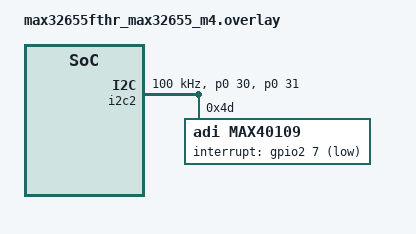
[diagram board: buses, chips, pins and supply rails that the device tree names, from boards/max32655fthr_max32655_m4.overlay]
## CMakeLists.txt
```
# SPDX-License-Identifier: Apache-2.0

cmake_minimum_required(VERSION 3.20.0)
find_package(Zephyr REQUIRED HINTS $ENV{ZEPHYR_BASE})
project(max40109)

FILE(GLOB app_sources src/*.c)

target_sources(app PRIVATE ${app_sources})
```

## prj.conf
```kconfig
CONFIG_SENSOR=y
CONFIG_STDOUT_CONSOLE=y
CONFIG_I2C=y
CONFIG_FPU=y
CONFIG_MAX40109=y
CONFIG_MAX40109_TRIGGER=y
CONFIG_MAX40109_TRIGGER_GLOBAL_THREAD=y
```

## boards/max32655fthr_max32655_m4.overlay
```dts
/*
 * Copyright (c) 2025 Analog Devices Inc.
 *
 * SPDX-License-Identifier: Apache-2.0
 */

&i2c2_scl_p0_30 {
	power-source = <MAX32_VSEL_VDDIOH>;
};

&i2c2_sda_p0_31 {
	power-source = <MAX32_VSEL_VDDIOH>;
};

&i2c2 {
	pinctrl-0 = <&i2c2_scl_p0_30 &i2c2_sda_p0_31>;
	pinctrl-names = "default";
	clock-frequency = <100000>;
	status = "okay";

	max40109: max40109@4D {
		status = "okay";
    	compatible = "adi,max40109";
    	reg = <0x4D>;
		interrupt-gpios = <&gpio2 7 1>;
		digital-filter = <0x02>; // 
		alert-mode = <0x00>;//
		temp-current = <0x00>; // 
		pga-pressure-gain = <0x00>;//
		current-source = <0x01>;
		adc-sample-rate = <0x03>;//
		pga-temperature-gain = <0x00>;//
		bridge-drive = <0x04>; // 
		temp-mode = <0x00>; // 
		drv-scale = <0x00>; // 
		analog-filter-bw = <0x000>; // 
		analog-output-stage = <0x00>; //
		calib-coeff = <500000 0 0 0 0 0 0 0 0 0 0 0 0 0 0 0 0 0 0 0>;
		overpressure-threshold-pos = <0xFF>;
		underpressure-threshold-pos = <0x00>;
		overpressure-threshold-neg = <0xFF>;
		underpressure-threshold-neg = <0x00>;
		overtemp-threshold = <0xFF>;
		undertemp-threshold = <0x00>;
		overvoltage-drv = <0xFF>;
		undervoltage-drv = <0x00>;
		primary-threshold-pressure-value = <0x00>;
		hysteresis-threshold-pressure-value = <0x00>;
  };
};
```

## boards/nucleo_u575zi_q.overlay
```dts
/*
 * Copyright (c) 2025 Analog Devices Inc.
 *
 * SPDX-License-Identifier: Apache-2.0
 */

&i2c1 {
	pinctrl-0 = <&i2c1_scl_pb8 &i2c1_sda_pb9>;
	pinctrl-names = "default";
	status = "okay";
	clock-frequency = <I2C_BITRATE_FAST>;

	max40109: max40109@4D {
		status = "okay";
    	compatible = "adi,max40109";
    	reg = <0x4D>;
  };
};
```

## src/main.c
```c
/*
 * Copyright (c) 2025 Analog Devices Inc.
 *
 * SPDX-License-Identifier: Apache-2.0
 */

#include <stdio.h>

#include <zephyr/device.h>
#include <zephyr/kernel.h>
#include <zephyr/drivers/sensor.h>
#include <zephyr/drivers/sensor/max40109.h>
#include <zephyr/drivers/i2c.h>

#define MAX40109_NODE    DT_NODELABEL(max40109)
#define TRIGGER_SET_TEST 1

static const struct device *max40109_dev = DEVICE_DT_GET(MAX40109_NODE);


void pressure_ready_callback(const struct device *dev,
                   const struct sensor_trigger *trig)
{
    struct sensor_value pressure;
    // printf("Data ready interrupt received\n");

    int ret = sensor_sample_fetch_chan(dev, SENSOR_CHAN_ALL);
    if (ret < 0) {
        printf("Failed to fetch sensor data: %d\n", ret);
        return ret;
    }

    ret = sensor_channel_get(dev, SENSOR_CHAN_PRESS_RAW, &pressure);
    if (ret < 0) {
        printf("Failed to get pressure data: %d\n", ret);
        return ret;
    }
    printf("Pressure: %f kPa\n", sensor_value_to_float(&pressure));
    return 0;
}

void temp_ready_callback(const struct device *dev,
                   const struct sensor_trigger *trig)
{
    struct sensor_value temp;
    // printf("Temperature Data ready interrupt received\n");

    int ret = sensor_sample_fetch_chan(dev, SENSOR_CHAN_ALL);
    if (ret < 0) {
        printf("Failed to fetch sensor data: %d\n", ret);
        return ret;
    }

    ret = sensor_channel_get(dev, SENSOR_CHAN_AMBIENT_TEMP, &temp);
    if (ret < 0) {
        printf("Failed to get temperature data: %d\n", ret);
        return ret;
    }
    printf("Temperature: %f C\n", sensor_value_to_float(&temp));
    return 0;
}

int main(void)
{
	printf("Starting MAX40109 sample application\n");
	if (!device_is_ready(max40109_dev)) {
		printf("MAX40109 device not ready\n");
		return -ENODEV;
	}
	printf("MAX40109 device is ready: %s\n", max40109_dev->name);
    int ret = 0;
    float k0_value = 0;
    ret = max40109_mtp_calibration_read(max40109_dev, MAX40109_CALIBRATION_K0, &k0_value);
    if (ret < 0) {
        printf("Failed to read calibration coefficient K0: %d\n", ret);
        return ret;
    }
    printf("Calibration coefficient K0 read successfully: %f\n", k0_value);
    // uint8_t digital_filter_setup = 0;
    // ret = max40109_reg_read(max40109_dev, 0x00, &digital_filter_setup, 1);
    // if (ret < 0) {
    //     printf("Failed to read digital filter setup: %d\n", ret);
    //     return ret;
    // }
    // printf("Digital Filter Setup Register: 0x%02X\n", digital_filter_setup);

    // uint8_t adc_sample_rate = 0;
    // ret = max40109_reg_read(max40109_dev, 0x0A, &adc_sample_rate, 1);
    // if (ret < 0) {
    //     printf("Failed to read ADC sample rate: %d\n", ret);
    //     return ret;
    // }
    // printf("ADC Sample Rate Register: 0x%02X\n", adc_sample_rate);
#if 0
    uint8_t interrupt_enable_reg [2];
    uint16_t int_setup;



    ret = max40109_reg_read(max40109_dev, 0x0B, interrupt_enable_reg, 2);
    if (ret < 0) {
        printf("Failed to read interrupt enable register: %d\n", ret);
        return ret;
    }
    int_setup = (interrupt_enable_reg[0] << 8) | interrupt_enable_reg[1];
    printf("Interrupt Enable Register: 0x%04X\n", int_setup);
    
    uint8_t calibrated_pressure[2];
    ret = max40109_reg_read(max40109_dev, 0x0F, calibrated_pressure, 2);
    
    if (ret < 0) {
        printf("Failed to read calibrated pressure: %d\n", ret);
        return ret;
    }


    uint16_t pressure = (calibrated_pressure[0] << 8) | calibrated_pressure[1];
    printf("Calibrated Pressure: %d\n", pressure);

    uint8_t uncalibrated_pressure[2];

    ret = max40109_reg_read(max40109_dev, 0x06, uncalibrated_pressure, 2);
    if (ret < 0) {
        printf("Failed to read uncalibrated pressure: %d\n", ret);
        return ret;
    }
    uint16_t uncalibrated_pressure_value = (uncalibrated_pressure[0] << 8) | uncalibrated_pressure[1];
    printf("Uncalibrated Pressure: %d\n", uncalibrated_pressure_value);

    uint8_t mtp_control_reg = 0x10;
    ret = max40109_reg_write(max40109_dev, 0xA2, mtp_control_reg);
    uint8_t diag_data0 [2];
    ret = max40109_mtp_read(max40109_dev, 0x38, diag_data0);
    if (ret < 0) {
        printf("Failed to read diagnostic data: %d\n", ret);
        return ret;
    }


    uint16_t diag_data0_value = (diag_data0[0] << 8) | diag_data0[1];
    printf("Diagnostic Data 0: 0x%04X\n", diag_data0_value);
#endif
    // ret = max40109_mtp_initialize(max40109_dev);
    // if (ret < 0) {
    //     printf("Failed to initialize MTP: %d\n", ret);
    //     return ret;
    // }
    // printf("MTP initialized successfully\n");

#if 0 
    uint8_t mtp_data[2] = {0x12, 0x34};
    ret = max40109_mtp_write(max40109_dev, SP_DATA3, mtp_data);
    if (ret < 0) {
        printf("Failed to write MTP data: %d\n", ret);
        return ret;
    }
    printf("MTP data written successfully\n");
    uint8_t mtp_data_read [2] = {0,0};
    ret = max40109_mtp_read(max40109_dev, SP_DATA3, mtp_data_read);
    if (ret < 0) {
        printf("Failed to read MTP data: %d\n", ret);
        return ret;
    }
    printf("MTP Data Read: 0x%02X 0x%02X\n", mtp_data_read[0], mtp_data_read[1]);
#endif
#if 0
    float k0_value = 1.234;
    ret = max40109_mtp_calibration(max40109_dev, MAX40109_CALIBRATION_K0, k0_value, false);
    if (ret < 0) {
        printf("Failed to set calibration coefficient K0: %d\n", ret);
        return ret;
    }
    printf("Calibration coefficient K0 set successfully to %f\n", k0_value);

    float k0_read_value = 0.0;
    ret = max40109_mtp_calibration_read(max40109_dev, MAX40109_CALIBRATION_K0, &k0_read_value);
    if (ret < 0) {
        printf("Failed to read calibration coefficient K0: %d\n", ret);
        return ret;
    }
    printf("Calibration coefficient K0 read successfully: %f\n", k0_read_value);
    return 0;
#endif

// // #if 0
//     uint8_t data_burn[2] = {0x56, 0x78};
//     ret = max40109_mtp_burn (max40109_dev, SP_DATA4, data_burn);
//     if (ret < 0) {
//         printf("Failed to burn MTP data: %d\n", ret);
//         return ret;
//     }
//     printf("MTP data burned successfully\n");
//     return 0;
// // #endif
#if 0 
    uint8_t buff_burn [2] = {0,0};
    ret = max40109_mtp_read(max40109_dev, SP_DATA4, buff_burn);
    if (ret < 0) {
        printf("Failed to read MTP data: %d\n", ret);
        return ret;
    }
    printf("MTP Data Read After Burn: 0x%02X 0x%02X\n", buff_burn[0], buff_burn[1]);
    return 0;
#endif
#if 0
    uint8_t val [2] = {0xFF, 0xCD};
    ret = max40109_mtp_write(max40109_dev, SP_DATA5, val);
    if (ret < 0) {
        printf("Failed to write MTP data: %d\n", ret);
        return ret;
    }
    printf("MTP data written successfully\n");
    uint8_t val_read [2] = {0,0};
    ret = max40109_mtp_read(max40109_dev, SP_DATA5, val_read);
    if (ret < 0) {
        printf("Failed to read MTP data: %d\n", ret);
        return ret;
    }
    printf("MTP Data Read: 0x%02X 0x%02X\n", val_read[0], val_read[1]);

    ret = max40109_mtp_update(max40109_dev, SP_DATA5, GENMASK(15,8), 0xAB);
    if (ret < 0) {
        printf("Failed to update MTP data: %d\n", ret);
        return ret;
    }
    printf("MTP data updated successfully\n");

    uint8_t val_updated [2] = {0,0};
    ret = max40109_mtp_read(max40109_dev, SP_DATA5, val_updated);
    if (ret < 0) {
        printf("Failed to read MTP data: %d\n", ret);
        return ret;
    }
    printf("MTP Data Read After Update: 0x%02X 0x%02X\n", val_updated[0], val_updated[1]);

    ret = max40109_mtp_calibration(max40109_dev, MAX40109_CALIBRATION_H0, 3.14159, false);
    if (ret < 0) {
        printf("Failed to set calibration coefficient H0: %d\n", ret);
        return ret;
    }
    printf("Calibration coefficient H0 set successfully to %f\n", 3.14159);

    float h0_value = 0.0;

    ret = max40109_mtp_calibration_read(max40109_dev, MAX40109_CALIBRATION_H0, &h0_value);
    if (ret < 0) {
        printf("Failed to read calibration coefficient H0: %d\n", ret);
        return ret;
    }
    printf("Calibration coefficient H0 read successfully: %f\n", h0_value);

    uint8_t status_reg[2];
    ret = max40109_reg_read(max40109_dev, 0x00, status_reg, 2);
    if (ret < 0) {
        printf("Failed to read status register: %d\n", ret);
        return ret;
    }

    printf("Status Register Before Clear: 0x%02X 0x%02X\n", status_reg[0], status_reg[1]);
#endif

#if TRIGGER_SET_TEST
    struct sensor_trigger pressure_trig = {
        .type = SENSOR_TRIG_DATA_READY,
        .chan = SENSOR_CHAN_PRESS_RAW,
    };
    struct sensor_trigger temp_trig = {
        .type = SENSOR_TRIG_TEMP_DATA_READY,
        .chan = SENSOR_CHAN_AMBIENT_TEMP,
    };

    ret = max40109_reg_write_multiple(max40109_dev, 0x0B, (uint8_t[]){0x00, 0x00}, 2);
    if (ret < 0) {
        printf("Failed to clear interrupt enable register: %d\n", ret);
        return ret;
    }
    ret = max40109_trigger_set(max40109_dev, &pressure_trig, pressure_ready_callback);
    if (ret < 0) {
        printf("Failed to set pressure trigger: %d\n", ret);
        return ret;
    }
    printf("Pressure trigger set successfully\n");

    ret = max40109_trigger_set(max40109_dev, &temp_trig, temp_ready_callback);
    if (ret < 0) {
        printf("Failed to set temperature trigger: %d\n", ret);
        return ret;
    }
    uint8_t interrupt_enable_reg [2] = {0,0};
    ret = max40109_reg_read (max40109_dev, 0x0B, interrupt_enable_reg, 2);
    if (ret < 0) {
        printf("Failed to read interrupt enable register: %d\n", ret);
        return ret;
    }
    int int_setup = (interrupt_enable_reg[0] << 8) | interrupt_enable_reg[1];
    printf("Interrupt Enable Register After Trigger Set: 0x%04X\n", int_setup);
    printf("Temperature trigger set successfully\n");

    printf("Waiting for interrupts...\n");
    uint8_t stat[2] = {0,0};
    ret = max40109_reg_read(max40109_dev, 0x02, stat, 2);
    if (ret < 0) {
        printf("Failed to read status register: %d\n", ret);
        return ret;
    }

    ret = max40109_reg_write_multiple(max40109_dev, 0x02, stat, 2);
    if (ret < 0) {
        printf("Failed to clear status register: %d\n", ret);
        return ret;
    }

    struct sensor_value pressure;
while(1){

    k_sleep(K_MSEC(1000));
    
    ret = max40109_reg_read(max40109_dev, 0x02,stat, 2);
    if (ret < 0) {
        printf("Failed to read status register: %d\n", ret);
        return ret;
    }
    printf("Status Register: 0x%02X 0x%02X\n", stat[0], stat[1]);

    ret = max40109_reg_write_multiple(max40109_dev, 0x02, stat, 2);
    if (ret < 0) {
        printf("Failed to clear status register: %d\n", ret);
        return ret;
    }
}

#endif
}
```
